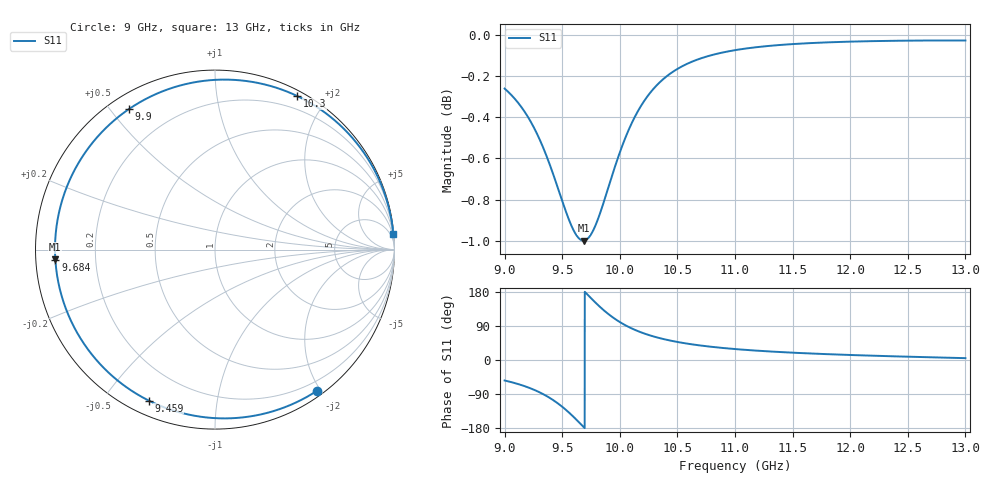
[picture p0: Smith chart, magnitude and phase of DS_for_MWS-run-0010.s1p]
! TOUCHSTONE file generated by CST DESIGN STUDIO
! Date and time: Tue Feb  4 17:08:20 2025
! Project name: C:\Work\MatlabApps\UnitCellOptimizationMatlab\CST\unitcell.cst
! Tree item: Tasks\Sweep1\SPara1\S-Parameters
! Header version: 2024
! Port assignment regex: !\s*Touchstone port\s*([0-9]+)\s*=\s*(CST MWS port|CST DES external port|CST DES block port)\s*(.+)\s* \(\"(.*)\"\)(\s*mode\s*([0-9]+))?.*
! Touchstone port assignment:
! Touchstone port 1 = CST DES external port 1 ("")
# GHz S MA R 50
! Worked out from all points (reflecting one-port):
!   4001 points, 9 GHz to 13 GHz, reference 50 ohm
!   lowest |S11| = -1.0 dB at 9.685 GHz (marker M1), VSWR 17.40, Z = 2.88 - j1.49 ohm
!   phase of S11 starts at -54 deg and turns -301 deg over the sweep
!   S11 on the Smith chart (normalised r, x): 9 GHz: 0.07, -1.96; 9.459 GHz: 0.06, -0.65; 9.684 GHz: 0.06, -0.03; 9.9 GHz: 0.06, +0.56; 10.3 GHz: 0.06, +1.67; 13 GHz: 1, +23
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9  0.9704 -54.0
9.122  0.9624 -63.9
9.239  0.9513 -76.5
9.362  0.9348 -94.6
9.459  0.9185 -113.8
9.5  0.9113 -123.3
9.551  0.9029 -136.6
9.604  0.8959 -151.7
9.645  0.8924 -164.1
9.684  0.8913 -176.3
9.685  0.8913 -176.6
9.731  0.8929 169.0
9.779  0.8976 154.3
9.84  0.907 136.8
9.9  0.9181 121.4
9.948  0.9271 110.6
10  0.9364 100.2
10.065  0.9466 89.0
10.143  0.9567 78.0
10.296  0.9706 61.8
10.392  0.9764 54.3
10.5  0.9812 47.6
10.719  0.9873 37.5
11  0.9915 28.9
11.5  0.9949 19.3
12  0.9963 13.2
12.5  0.9968 8.7
13  0.9969 4.9
